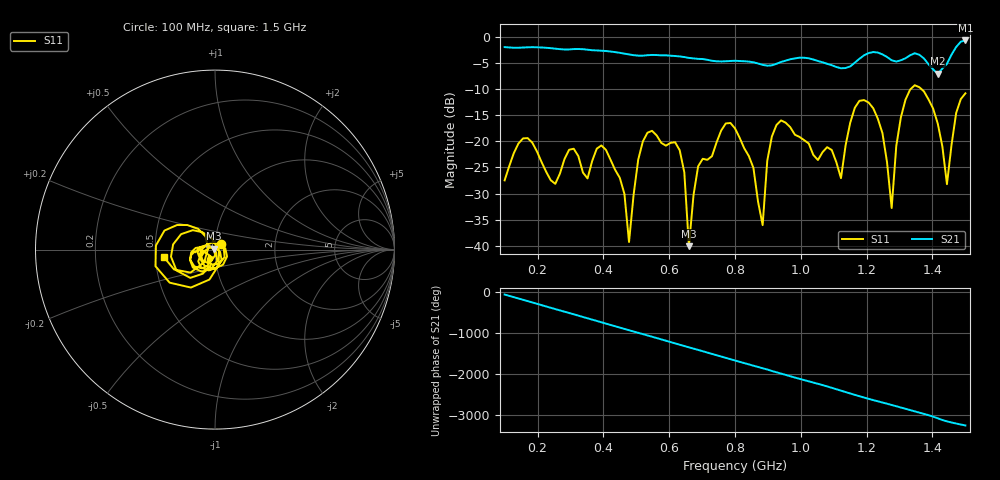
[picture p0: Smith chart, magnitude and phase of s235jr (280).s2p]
! NanoVNA-App
! Date: 2025-09-25 15:06:20
! Start: 100MHz Stop: 1,5GHz Points: 101
! S-Parameter data: F S11 S21 S12 S22
# Hz S RI R 50
!  Frequency  S11_Real  S11_Imag  S21_Real  S21_Imag  S12_Real  S12_Imag  S22_Real  S22_Imag
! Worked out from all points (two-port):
!   101 points, 100 MHz to 1.5 GHz, reference 50 ohm
!   highest |S21| = -0.69 dB at 1.5 GHz (marker M1); lowest = -7.1 dB at 1.416 GHz (marker M2)
!   |S21| within 3 dB of the highest: start of sweep to 622.2 MHz; 1.189 GHz to 1.257 GHz (68.37 MHz wide, 5.59 % of centre) (the widest 2 of 4)
!   lowest |S11| = -40.1 dB at 660 MHz (marker M3), VSWR 1.02, Z = 49.2 + j0.551 ohm
!   |S11| at or under -10 dB: start of sweep to 1.334 GHz; 1.366 GHz to end of sweep
!   S12 and S22 are empty: the file has one direction only
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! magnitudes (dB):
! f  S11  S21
! 100 MHz  -27.5  -2.0
! 156 MHz  -19.4  -2.0
! 338 MHz  -26.0  -2.4
! 408 MHz  -21.6  -2.7
! 478 MHz  -39.3  -3.4
! 520 MHz  -20.0  -3.6
! 576 MHz  -20.3  -3.5
! 632 MHz  -21.7  -3.7
! 660 MHz  -40.1  -4.0
! 688 MHz  -24.8  -4.2
! 800 MHz  -17.5  -4.6
! 884 MHz  -36.0  -5.4
! 926 MHz  -16.9  -5.2
! 1.038 GHz  -22.6  -4.3
! 1.122 GHz  -27.0  -6.0
! 1.206 GHz  -12.6  -3.1
! 1.248 GHz  -18.4  -3.4
! 1.276 GHz  -32.8  -4.5
! 1.332 GHz  -10.1  -3.5
! 1.416 GHz  -16.6  -7.1
! 1.444 GHz  -28.2  -5.2
! 1.5 GHz  -10.8  -0.7
